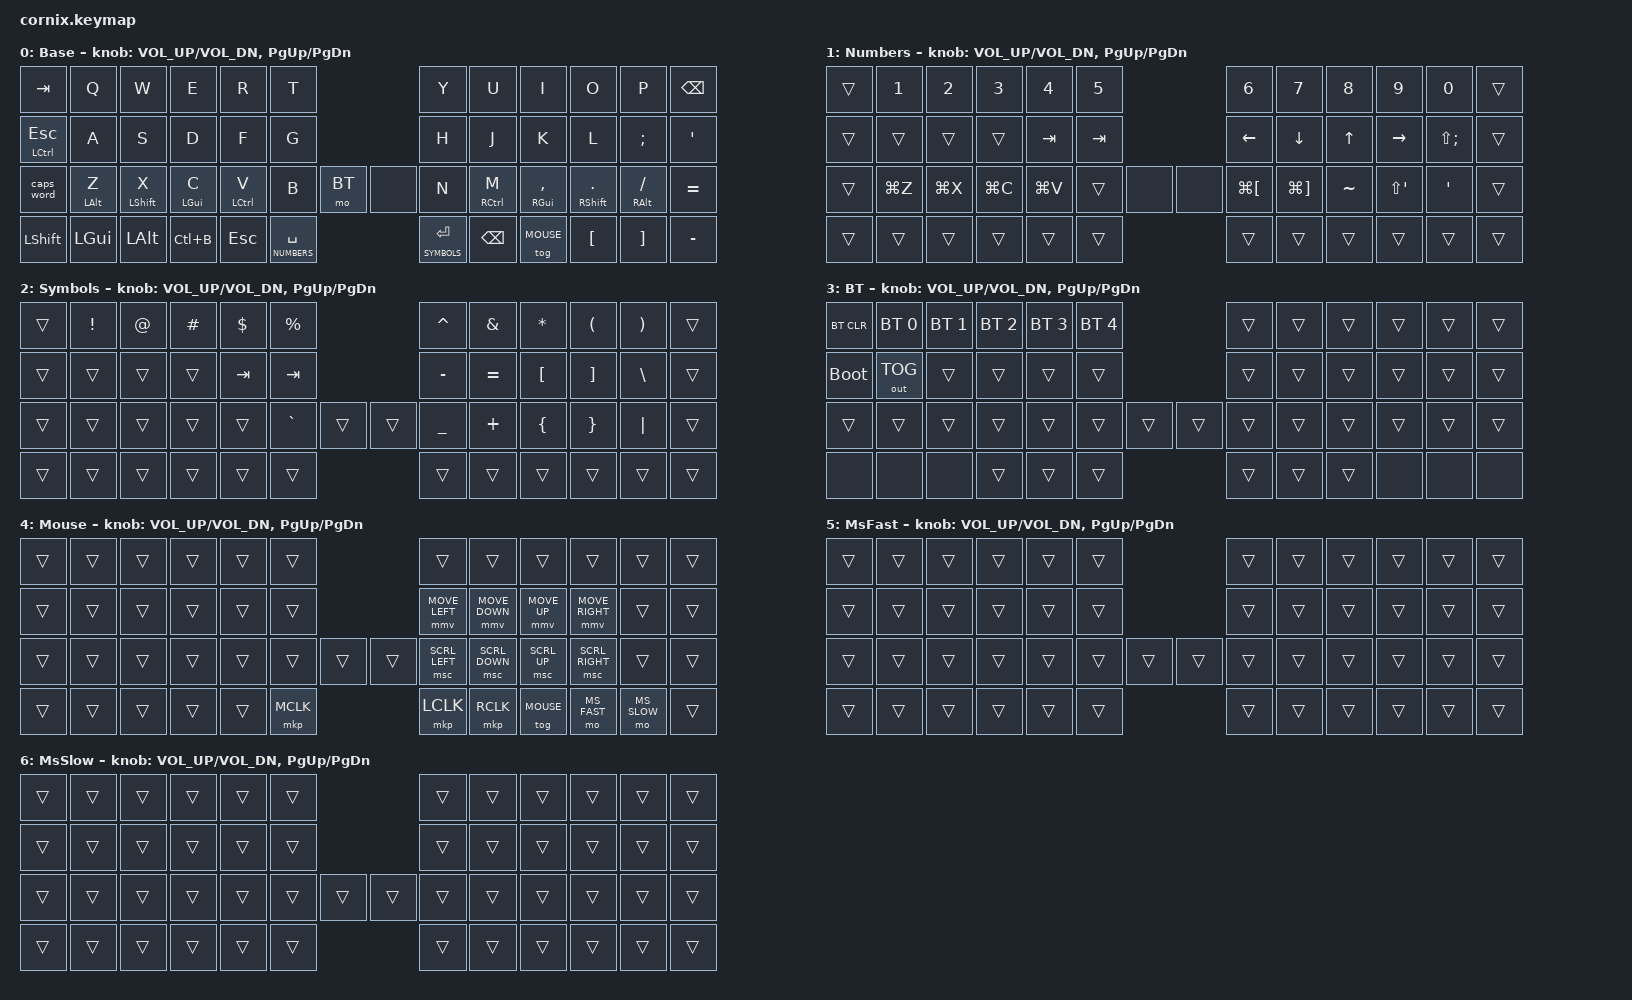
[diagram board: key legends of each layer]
/*
 * Copyright (c) 2020 The ZMK Contributors
 *
 * SPDX-License-Identifier: MIT
 */

#include "zmk-helpers/helper.h"
#include "includes/cornix54.h"
#include <behaviors.dtsi>
#include <dt-bindings/zmk/bt.h>
#include <dt-bindings/zmk/keys.h>

// tap windows for ctl alt and gui

#define HM_TAPPING_TERM 280
#define HM_TAPPING_REPEAT 210

// quick tapping for shift

#define HM_TAPPING_TERM_FAST 200
#define HM_PRIOR_IDLE 150
#define HM_SHIFT_PRIOR_IDLE 70
#define BASE    0
#define NUMBERS 1
#define SYMBOLS 2
#define MOUSE   4
#define MS_FAST 5
#define MS_SLOW 6
#define BT      3

// https://github.com/urob/zmk-config/tree/main#timeless-homerow-mods

#define KEYS_L LT0 LT1 LT2 LT3 LT4 LT5 LM0 LM1 LM2 LM3 LM4 LM5 LB0 LB1 LB2 LB3 LB4 LB5  // left hand
#define KEYS_R RT0 RT1 RT2 RT3 RT4 RT5 RM0 RM1 RM2 RM3 RM4 RM5 RB0 RB1 RB2 RB3 RB4 RB5  // right hand
#define THUMBS LH1 LH0 RH0 RH1
#define KEYS_T LH1 LH0 RH0 RH1
#define ZMK_POINTING_DEFAULT_SCRL_VAL 15

#include <behaviors.dtsi>
#include <dt-bindings/zmk/bt.h>
#include <dt-bindings/zmk/ext_power.h>
#include <dt-bindings/zmk/keys.h>
#include <dt-bindings/zmk/pointing.h>
#include <dt-bindings/zmk/outputs.h>
#include <input/processors.dtsi>

// Mouse speed overrides: when MS_FAST/MS_SLOW layers are active, scale pointer + scroll speed.
&mmv_input_listener {
    mmv_fast {
        layers = <MS_FAST>;
        input-processors = <&zip_xy_scaler 2 1>;   // 2x movement
    };
    mmv_slow {
        layers = <MS_SLOW>;
        input-processors = <&zip_xy_scaler 1 2>;   // 1/2 movement (precision)
    };
};

&msc_input_listener {
    msc_fast {
        layers = <MS_FAST>;
        input-processors = <&zip_scroll_scaler 2 1>;  // 2x scroll
    };
    msc_slow {
        layers = <MS_SLOW>;
        input-processors = <&zip_scroll_scaler 1 2>;  // 1/2 scroll
    };
};

/ {
    behaviors {
        hm_l: homerow_mods_left {
            compatible = "zmk,behavior-hold-tap";
            #binding-cells = <2>;
            bindings = <&kp>, <&kp>;

            flavor = "balanced";
            tapping-term-ms = <HM_TAPPING_TERM>;
            quick-tap-ms = <175>;                // repeat on tap-into-hold
            require-prior-idle-ms = <HM_PRIOR_IDLE>;
            hold-trigger-key-positions = <KEYS_R KEYS_T>;
            hold-trigger-on-release;
        };

        hm_r: homerow_mods_right {
            compatible = "zmk,behavior-hold-tap";
            #binding-cells = <2>;
            bindings = <&kp>, <&kp>;

            flavor = "balanced";
            tapping-term-ms = <HM_TAPPING_TERM>;
            quick-tap-ms = <175>;
            require-prior-idle-ms = <HM_PRIOR_IDLE>;
            hold-trigger-key-positions = <KEYS_L KEYS_T>;
            hold-trigger-on-release;
        };

        // Positional Homerow mods for shift
        // Use faster tapping term and disable some features that may
        // cause false negatives.

        hm_shift_l: hm_shift_l {
            compatible = "zmk,behavior-hold-tap";
            #binding-cells = <2>;
            bindings = <&kp>, <&kp>;

            flavor = "balanced";
            tapping-term-ms = <HM_TAPPING_TERM_FAST>;
            quick-tap-ms = <200>;
            require-prior-idle-ms = <HM_SHIFT_PRIOR_IDLE>;
            hold-trigger-key-positions = <KEYS_R KEYS_T>;
            hold-trigger-on-release;
        };

        hm_shift_r: hm_shift_r {
            compatible = "zmk,behavior-hold-tap";
            #binding-cells = <2>;
            bindings = <&kp>, <&kp>;

            flavor = "balanced";
            tapping-term-ms = <HM_TAPPING_TERM_FAST>;
            quick-tap-ms = <200>;
            require-prior-idle-ms = <HM_SHIFT_PRIOR_IDLE>;
            hold-trigger-key-positions = <KEYS_L KEYS_T>;

            // for quick tapping; shift+~

            hold-trigger-on-release;
        };

        /*
         * Non-Positional Homerow Mods
         * Used for &mm_grescm_gui behavior on left hand.
         *
         * Usage: &hm LSHFT T
         * Tap: T
         * Tap-Tap-Hold: Repeat T
         * Hold: LSHIFT
         */

        hm: homerow_mods {
            compatible = "zmk,behavior-hold-tap";
            #binding-cells = <2>;
            bindings = <&kp>, <&kp>;

            flavor = "balanced";
            tapping-term-ms = <HM_TAPPING_TERM>;
            quick-tap-ms = <200>;
        };

        lt: layer_tap {
            compatible = "zmk,behavior-hold-tap";
            #binding-cells = <2>;
            bindings = <&mo>, <&kp>;

            flavor = "hold-preferred";
            quick-tap-ms = <200>;
        };

        mlt: mouse_layer_tap {
            compatible = "zmk,behavior-hold-tap";
            #binding-cells = <2>;
            bindings = <&mo>, <&kp>;

            flavor = "balanced";
            tapping-term-ms = <200>;
            quick-tap-ms = <200>;
        };
    };

    combos {
        compatible = "zmk,combos";

        cb_ltm {
            bindings = <&kp ESC>;
            key-positions = <2 4>;
            layers = <0>;
        };

        cb_lm {
            bindings = <&kp TAB>;
            key-positions = <14 16>;
            layers = <0>;
        };

        cb_enter {
            bindings = <&kp RET>;
            key-positions = <21 19>;
            layers = <0>;
        };
    };

    keymap {
        compatible = "zmk,keymap";

        default_layer {
            display-name = "Base";
            bindings = <
// ╭─────────────┬─────────────┬─────────────┬─────────────┬─────────────┬─────────────╮                 ╭─────────────┬─────────────┬─────────────┬─────────────┬─────────────┬─────────────╮
    &kp TAB       &kp Q         &kp W         &kp E         &kp R         &kp T                           &kp Y         &kp U         &kp I         &kp O         &kp P         &kp BACKSPACE
// ├─────────────┼─────────────┼─────────────┼─────────────┼─────────────┼─────────────┤                 ├─────────────┼─────────────┼─────────────┼─────────────┼─────────────┼─────────────┤
    &hm LCTRL ESC &kp A         &kp S         &kp D         &kp F         &kp G                           &kp H         &kp J         &kp K         &kp L         &kp SEMI      &kp SQT
// ├─────────────┼─────────────┼─────────────┼─────────────┼─────────────┼─────────────┤  ╭─────┬─────╮  ├─────────────┼─────────────┼─────────────┼─────────────┼─────────────┼─────────────┤
    &caps_word    &hm_l LALT Z  &hm_shift_l LSHFT X &hm_l LGUI C &hm_l LCTRL V &kp B       &mo BT &none   &kp N         &hm_r RCTRL M &hm_r RGUI COMMA &hm_shift_r RSHFT DOT &hm_r RALT FSLH &kp EQUAL
// ╰─────────────┴─────────────┴─────────────┴─────────────┴─────────────┴─────────────╯  ╰─────┴─────╯  ╰─────────────┴─────────────┴─────────────┴─────────────┴─────────────┴─────────────╯
// ╭─────────────┬─────────────┬─────────────╮  ╭─────────────┬─────────────┬─────────────╮           ╭─────────────┬─────────────┬─────────────╮  ╭─────────────┬─────────────┬─────────────╮
    &kp LSHFT     &kp LGUI      &kp LALT         &kp LC(B)     &kp ESC       &lt NUMBERS SPACE         &lt SYMBOLS RET &kp BSPC      &tog MOUSE       &kp LBKT      &kp RBKT      &kp MINUS
// ╰─────────────┴─────────────┴─────────────╯  ╰─────────────┴─────────────┴─────────────╯           ╰─────────────┴─────────────┴─────────────╯  ╰─────────────┴─────────────┴─────────────╯
            >;
            sensor-bindings = <&inc_dec_kp C_VOL_UP C_VOL_DN &inc_dec_kp PG_UP PG_DN>;
        };

        numbers_layer {
            display-name = "Numbers";
            bindings = <
// ╭─────────────┬─────────────┬─────────────┬─────────────┬─────────────┬─────────────╮                 ╭─────────────┬─────────────┬─────────────┬─────────────┬─────────────┬─────────────╮
    &trans        &kp N1        &kp N2        &kp N3        &kp N4        &kp N5                          &kp N6        &kp N7        &kp N8        &kp N9        &kp N0        &trans
// ├─────────────┼─────────────┼─────────────┼─────────────┼─────────────┼─────────────┤                 ├─────────────┼─────────────┼─────────────┼─────────────┼─────────────┼─────────────┤
    &trans        &trans        &trans        &trans        &kp TAB       &kp TAB                         &kp LEFT      &kp DOWN      &kp UP        &kp RIGHT     &kp LS(SEMI)  &trans
// ├─────────────┼─────────────┼─────────────┼─────────────┼─────────────┼─────────────┤  ╭─────┬─────╮  ├─────────────┼─────────────┼─────────────┼─────────────┼─────────────┼─────────────┤
    &trans        &kp LG(Z)     &kp LG(X)     &kp LG(C)     &kp LG(V)     &trans           &none &none    &kp LG(LBKT)  &kp LG(RBKT)  &kp TILDE     &kp LS(SQT)   &kp SQT       &trans
// ╰─────────────┴─────────────┴─────────────┴─────────────┴─────────────┴─────────────╯  ╰─────┴─────╯  ╰─────────────┴─────────────┴─────────────┴─────────────┴─────────────┴─────────────╯
// ╭─────────────┬─────────────┬─────────────╮  ╭─────────────┬─────────────┬─────────────╮           ╭─────────────┬─────────────┬─────────────╮  ╭─────────────┬─────────────┬─────────────╮
    &trans        &trans        &trans           &trans        &trans        &trans                    &trans        &trans        &trans           &trans        &trans        &trans
// ╰─────────────┴─────────────┴─────────────╯  ╰─────────────┴─────────────┴─────────────╯           ╰─────────────┴─────────────┴─────────────╯  ╰─────────────┴─────────────┴─────────────╯
            >;
            sensor-bindings = <&inc_dec_kp C_VOL_UP C_VOL_DN &inc_dec_kp PG_UP PG_DN>;
        };

        symbols_layer {
            display-name = "Symbols";
            bindings = <
// ╭─────────────┬─────────────┬─────────────┬─────────────┬─────────────┬─────────────╮                 ╭─────────────┬─────────────┬─────────────┬─────────────┬─────────────┬─────────────╮
    &trans        &kp EXCL      &kp AT        &kp HASH      &kp DLLR      &kp PRCNT                       &kp CARET     &kp AMPS      &kp ASTRK     &kp LPAR      &kp RPAR      &trans
// ├─────────────┼─────────────┼─────────────┼─────────────┼─────────────┼─────────────┤                 ├─────────────┼─────────────┼─────────────┼─────────────┼─────────────┼─────────────┤
    &trans        &trans        &trans        &trans        &kp TAB       &kp TAB                         &kp MINUS     &kp EQUAL     &kp LBKT      &kp RBKT      &kp BSLH      &trans
// ├─────────────┼─────────────┼─────────────┼─────────────┼─────────────┼─────────────┤  ╭─────┬─────╮  ├─────────────┼─────────────┼─────────────┼─────────────┼─────────────┼─────────────┤
    &trans        &trans        &trans        &trans        &trans        &kp GRAVE        &trans &trans  &kp UNDER     &kp PLUS      &kp LBRC      &kp RBRC      &kp PIPE      &trans
// ╰─────────────┴─────────────┴─────────────┴─────────────┴─────────────┴─────────────╯  ╰─────┴─────╯  ╰─────────────┴─────────────┴─────────────┴─────────────┴─────────────┴─────────────╯
// ╭─────────────┬─────────────┬─────────────╮  ╭─────────────┬─────────────┬─────────────╮           ╭─────────────┬─────────────┬─────────────╮  ╭─────────────┬─────────────┬─────────────╮
    &trans        &trans        &trans           &trans        &trans        &trans                    &trans        &trans        &trans           &trans        &trans        &trans
// ╰─────────────┴─────────────┴─────────────╯  ╰─────────────┴─────────────┴─────────────╯           ╰─────────────┴─────────────┴─────────────╯  ╰─────────────┴─────────────┴─────────────╯
            >;
            sensor-bindings = <&inc_dec_kp C_VOL_UP C_VOL_DN &inc_dec_kp PG_UP PG_DN>;
        };

        bt_layer {
            // Momentary via &mo BT on LH3 (Base layer only). All BT/reset controls
            // live on the left side; right side and unused thumbs fall through.
            display-name = "BT";
            bindings = <
// ╭─────────────┬─────────────┬─────────────┬─────────────┬─────────────┬─────────────╮                 ╭─────────────┬─────────────┬─────────────┬─────────────┬─────────────┬─────────────╮
    &bt BT_CLR    &bt BT_SEL 0  &bt BT_SEL 1  &bt BT_SEL 2  &bt BT_SEL 3  &bt BT_SEL 4                    &trans        &trans        &trans        &trans        &trans        &trans
// ├─────────────┼─────────────┼─────────────┼─────────────┼─────────────┼─────────────┤                 ├─────────────┼─────────────┼─────────────┼─────────────┼─────────────┼─────────────┤
    &bootloader   &out OUT_TOG  &trans        &trans        &trans        &trans                          &trans        &trans        &trans        &trans        &trans        &trans
// ├─────────────┼─────────────┼─────────────┼─────────────┼─────────────┼─────────────┤  ╭─────┬─────╮  ├─────────────┼─────────────┼─────────────┼─────────────┼─────────────┼─────────────┤
    &trans        &trans        &trans        &trans        &trans        &trans           &trans &trans  &trans        &trans        &trans        &trans        &trans        &trans
// ╰─────────────┴─────────────┴─────────────┴─────────────┴─────────────┴─────────────╯  ╰─────┴─────╯  ╰─────────────┴─────────────┴─────────────┴─────────────┴─────────────┴─────────────╯
// ╭─────────────┬─────────────┬─────────────╮  ╭─────────────┬─────────────┬─────────────╮           ╭─────────────┬─────────────┬─────────────╮  ╭─────────────┬─────────────┬─────────────╮
    &none         &none         &none            &trans        &trans        &trans                    &trans        &trans        &trans           &none         &none         &none
// ╰─────────────┴─────────────┴─────────────╯  ╰─────────────┴─────────────┴─────────────╯           ╰─────────────┴─────────────┴─────────────╯  ╰─────────────┴─────────────┴─────────────╯
            >;
            sensor-bindings = <&inc_dec_kp C_VOL_UP C_VOL_DN &inc_dec_kp PG_UP PG_DN>;
        };

        mouse_layer {
            display-name = "Mouse";
            bindings = <
// ╭─────────────┬─────────────┬─────────────┬─────────────┬─────────────┬─────────────╮                 ╭─────────────┬─────────────┬─────────────┬─────────────┬─────────────┬─────────────╮
    &trans        &trans        &trans        &trans        &trans        &trans                          &trans        &trans        &trans        &trans        &trans        &trans
// ├─────────────┼─────────────┼─────────────┼─────────────┼─────────────┼─────────────┤                 ├─────────────┼─────────────┼─────────────┼─────────────┼─────────────┼─────────────┤
    &trans        &trans        &trans        &trans        &trans        &trans                          &mmv MOVE_LEFT &mmv MOVE_DOWN &mmv MOVE_UP &mmv MOVE_RIGHT &trans     &trans
// ├─────────────┼─────────────┼─────────────┼─────────────┼─────────────┼─────────────┤  ╭─────┬─────╮  ├─────────────┼─────────────┼─────────────┼─────────────┼─────────────┼─────────────┤
    &trans        &trans        &trans        &trans        &trans        &trans           &trans &trans  &msc SCRL_LEFT &msc SCRL_DOWN &msc SCRL_UP &msc SCRL_RIGHT &trans     &trans
// ╰─────────────┴─────────────┴─────────────┴─────────────┴─────────────┴─────────────╯  ╰─────┴─────╯  ╰─────────────┴─────────────┴─────────────┴─────────────┴─────────────┴─────────────╯
// ╭─────────────┬─────────────┬─────────────╮  ╭─────────────┬─────────────┬─────────────╮           ╭─────────────┬─────────────┬─────────────╮  ╭─────────────┬─────────────┬─────────────╮
    &trans        &trans        &trans           &trans        &trans        &mkp MCLK                 &mkp LCLK    &mkp RCLK     &tog MOUSE       &mo MS_FAST   &mo MS_SLOW   &trans
// ╰─────────────┴─────────────┴─────────────╯  ╰─────────────┴─────────────┴─────────────╯           ╰─────────────┴─────────────┴─────────────╯  ╰─────────────┴─────────────┴─────────────╯
            >;
            sensor-bindings = <&inc_dec_kp C_VOL_UP C_VOL_DN &inc_dec_kp PG_UP PG_DN>;
        };

        ms_fast_layer {
            // Held via &mo MS_FAST on the Mouse layer. All transparent so the
            // Mouse layer's keys still work; being active triggers the 2x scaler.
            display-name = "MsFast";
            bindings = <
// ╭─────────────┬─────────────┬─────────────┬─────────────┬─────────────┬─────────────╮                 ╭─────────────┬─────────────┬─────────────┬─────────────┬─────────────┬─────────────╮
    &trans        &trans        &trans        &trans        &trans        &trans                          &trans        &trans        &trans        &trans        &trans        &trans
// ├─────────────┼─────────────┼─────────────┼─────────────┼─────────────┼─────────────┤                 ├─────────────┼─────────────┼─────────────┼─────────────┼─────────────┼─────────────┤
    &trans        &trans        &trans        &trans        &trans        &trans                          &trans        &trans        &trans        &trans        &trans        &trans
// ├─────────────┼─────────────┼─────────────┼─────────────┼─────────────┼─────────────┤  ╭─────┬─────╮  ├─────────────┼─────────────┼─────────────┼─────────────┼─────────────┼─────────────┤
    &trans        &trans        &trans        &trans        &trans        &trans           &trans &trans  &trans        &trans        &trans        &trans        &trans        &trans
// ╰─────────────┴─────────────┴─────────────┴─────────────┴─────────────┴─────────────╯  ╰─────┴─────╯  ╰─────────────┴─────────────┴─────────────┴─────────────┴─────────────┴─────────────╯
// ╭─────────────┬─────────────┬─────────────╮  ╭─────────────┬─────────────┬─────────────╮           ╭─────────────┬─────────────┬─────────────╮  ╭─────────────┬─────────────┬─────────────╮
    &trans        &trans        &trans           &trans        &trans        &trans                    &trans        &trans        &trans           &trans        &trans        &trans
// ╰─────────────┴─────────────┴─────────────╯  ╰─────────────┴─────────────┴─────────────╯           ╰─────────────┴─────────────┴─────────────╯  ╰─────────────┴─────────────┴─────────────╯
            >;
            sensor-bindings = <&inc_dec_kp C_VOL_UP C_VOL_DN &inc_dec_kp PG_UP PG_DN>;
        };

        ms_slow_layer {
            // Held via &mo MS_SLOW on the Mouse layer. Triggers the 1/2 (precision) scaler.
            display-name = "MsSlow";
            bindings = <
// ╭─────────────┬─────────────┬─────────────┬─────────────┬─────────────┬─────────────╮                 ╭─────────────┬─────────────┬─────────────┬─────────────┬─────────────┬─────────────╮
    &trans        &trans        &trans        &trans        &trans        &trans                          &trans        &trans        &trans        &trans        &trans        &trans
// ├─────────────┼─────────────┼─────────────┼─────────────┼─────────────┼─────────────┤                 ├─────────────┼─────────────┼─────────────┼─────────────┼─────────────┼─────────────┤
    &trans        &trans        &trans        &trans        &trans        &trans                          &trans        &trans        &trans        &trans        &trans        &trans
// ├─────────────┼─────────────┼─────────────┼─────────────┼─────────────┼─────────────┤  ╭─────┬─────╮  ├─────────────┼─────────────┼─────────────┼─────────────┼─────────────┼─────────────┤
    &trans        &trans        &trans        &trans        &trans        &trans           &trans &trans  &trans        &trans        &trans        &trans        &trans        &trans
// ╰─────────────┴─────────────┴─────────────┴─────────────┴─────────────┴─────────────╯  ╰─────┴─────╯  ╰─────────────┴─────────────┴─────────────┴─────────────┴─────────────┴─────────────╯
// ╭─────────────┬─────────────┬─────────────╮  ╭─────────────┬─────────────┬─────────────╮           ╭─────────────┬─────────────┬─────────────╮  ╭─────────────┬─────────────┬─────────────╮
    &trans        &trans        &trans           &trans        &trans        &trans                    &trans        &trans        &trans           &trans        &trans        &trans
// ╰─────────────┴─────────────┴─────────────╯  ╰─────────────┴─────────────┴─────────────╯           ╰─────────────┴─────────────┴─────────────╯  ╰─────────────┴─────────────┴─────────────╯
            >;
            sensor-bindings = <&inc_dec_kp C_VOL_UP C_VOL_DN &inc_dec_kp PG_UP PG_DN>;
        };
    };
};
